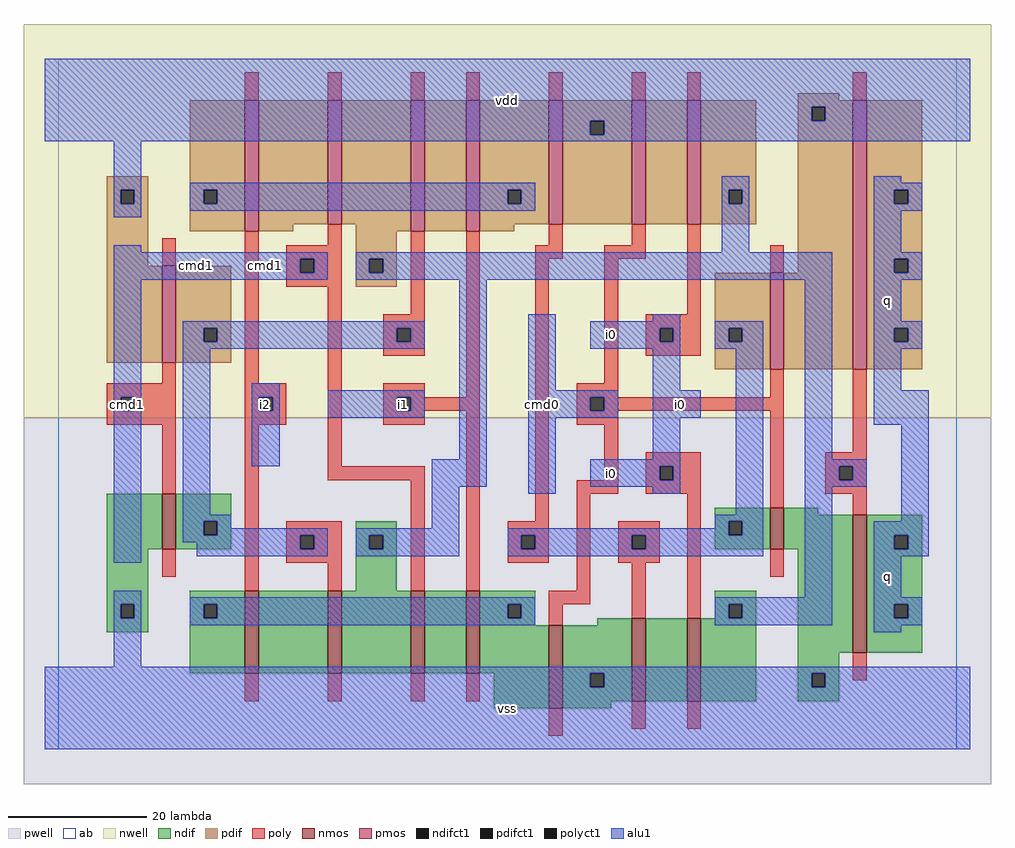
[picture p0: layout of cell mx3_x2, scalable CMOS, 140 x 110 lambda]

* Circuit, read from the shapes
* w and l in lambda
.subckt mx3_x2 cmd0 cmd1 i0 i1 i2 q vdd vss
M1 n1 cmd1 vss VSUBS nfet w=8 l=2
M2 n2 i2 n3 VSUBS nfet w=12 l=2
M3 n4 n1 n2 VSUBS nfet w=12 l=2
M4 n5 cmd1 n4 VSUBS nfet w=12 l=2
M5 n3 i1 n5 VSUBS nfet w=12 l=2
M6 vss cmd0 n3 VSUBS nfet w=12 l=2
M7 n6 n7 vss VSUBS nfet w=12 l=2
M8 n4 i0 n6 VSUBS nfet w=12 l=2
M9 vss cmd0 n7 VSUBS nfet w=6 l=2
M10 q n4 vss VSUBS nfet w=20 l=2
M11 n1 cmd1 vdd n8 pfet w=14 l=2
M12 n9 i2 n10 n8 pfet w=19 l=2
M13 n4 cmd1 n9 n8 pfet w=18 l=2
M14 n11 n1 n4 n8 pfet w=19 l=2
M15 n10 i1 n11 n8 pfet w=19 l=2
M16 vdd n7 n10 n8 pfet w=18 l=2
M17 n12 cmd0 vdd n8 pfet w=18 l=2
M18 n4 i0 n12 n8 pfet w=18 l=2
M19 vdd cmd0 n7 n8 pfet w=14 l=2
M20 q n4 vdd n8 pfet w=39 l=2
.ends

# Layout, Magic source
magic
tech scmos
<< ab >>
rect 0 0 130 100
<< nwell >>
rect -5 48 135 105
<< pwell >>
rect -5 -5 135 48
<< poly >>
rect 27 94 29 98
rect 39 94 41 98
rect 51 94 53 98
rect 59 94 61 98
rect 71 94 73 98
rect 83 94 85 98
rect 91 94 93 98
rect 115 94 117 98
rect 15 70 17 74
rect 15 53 17 56
rect 7 51 17 53
rect 7 49 9 51
rect 11 49 17 51
rect 7 47 17 49
rect 15 37 17 47
rect 27 53 29 75
rect 39 73 41 76
rect 33 71 41 73
rect 33 69 35 71
rect 37 69 41 71
rect 33 67 41 69
rect 27 51 33 53
rect 27 49 29 51
rect 31 49 33 51
rect 27 47 33 49
rect 15 25 17 29
rect 27 23 29 47
rect 39 41 41 67
rect 51 63 53 75
rect 47 61 53 63
rect 47 59 49 61
rect 51 59 53 61
rect 47 57 53 59
rect 47 51 53 53
rect 59 51 61 75
rect 71 73 73 76
rect 83 73 85 76
rect 47 49 49 51
rect 51 49 61 51
rect 47 47 53 49
rect 39 39 53 41
rect 33 31 41 33
rect 33 29 35 31
rect 37 29 41 31
rect 33 27 41 29
rect 39 23 41 27
rect 51 23 53 39
rect 59 23 61 49
rect 69 71 73 73
rect 79 71 85 73
rect 69 33 71 71
rect 79 53 81 71
rect 91 63 93 76
rect 103 69 105 73
rect 85 61 93 63
rect 85 59 87 61
rect 89 59 93 61
rect 85 57 93 59
rect 75 51 81 53
rect 103 51 105 55
rect 75 49 77 51
rect 79 49 105 51
rect 75 47 81 49
rect 79 39 81 47
rect 65 31 71 33
rect 65 29 67 31
rect 69 29 71 31
rect 65 27 71 29
rect 75 37 81 39
rect 85 41 93 43
rect 85 39 87 41
rect 89 39 93 41
rect 85 37 93 39
rect 75 23 77 37
rect 81 31 87 33
rect 81 29 83 31
rect 85 29 87 31
rect 81 27 87 29
rect 71 21 77 23
rect 71 18 73 21
rect 83 19 85 27
rect 91 19 93 37
rect 103 35 105 49
rect 115 43 117 55
rect 111 41 117 43
rect 111 39 113 41
rect 115 39 117 41
rect 111 37 117 39
rect 115 34 117 37
rect 103 25 105 29
rect 27 7 29 11
rect 39 7 41 11
rect 51 7 53 11
rect 59 7 61 11
rect 115 10 117 14
rect 71 2 73 6
rect 83 3 85 7
rect 91 3 93 7
<< ndif >>
rect 7 29 15 37
rect 17 33 25 37
rect 17 31 21 33
rect 23 31 25 33
rect 17 29 25 31
rect 7 21 13 29
rect 43 31 49 33
rect 43 29 45 31
rect 47 29 49 31
rect 43 23 49 29
rect 7 19 9 21
rect 11 19 13 21
rect 7 17 13 19
rect 19 21 27 23
rect 19 19 21 21
rect 23 19 27 21
rect 19 11 27 19
rect 29 11 39 23
rect 41 11 51 23
rect 53 11 59 23
rect 61 21 69 23
rect 61 19 65 21
rect 67 19 69 21
rect 61 18 69 19
rect 95 33 103 35
rect 95 31 97 33
rect 99 31 103 33
rect 95 29 103 31
rect 105 34 110 35
rect 105 29 115 34
rect 95 21 101 23
rect 95 19 97 21
rect 99 19 101 21
rect 78 18 83 19
rect 61 11 71 18
rect 63 6 71 11
rect 73 11 83 18
rect 73 9 77 11
rect 79 9 83 11
rect 73 7 83 9
rect 85 7 91 19
rect 93 7 101 19
rect 107 14 115 29
rect 117 31 125 34
rect 117 29 121 31
rect 123 29 125 31
rect 117 21 125 29
rect 117 19 121 21
rect 123 19 125 21
rect 117 14 125 19
rect 107 11 113 14
rect 107 9 109 11
rect 111 9 113 11
rect 107 7 113 9
rect 73 6 80 7
<< pdif >>
rect 107 94 113 95
rect 7 81 13 83
rect 7 79 9 81
rect 11 79 13 81
rect 7 70 13 79
rect 19 81 27 94
rect 19 79 21 81
rect 23 79 27 81
rect 19 75 27 79
rect 29 76 39 94
rect 41 76 51 94
rect 29 75 34 76
rect 7 56 15 70
rect 17 61 25 70
rect 17 59 21 61
rect 23 59 25 61
rect 17 56 25 59
rect 43 75 51 76
rect 53 75 59 94
rect 61 81 71 94
rect 61 79 65 81
rect 67 79 71 81
rect 61 76 71 79
rect 73 91 83 94
rect 73 89 77 91
rect 79 89 83 91
rect 73 76 83 89
rect 85 76 91 94
rect 93 81 101 94
rect 93 79 97 81
rect 99 79 101 81
rect 93 76 101 79
rect 107 93 115 94
rect 107 91 109 93
rect 111 91 115 93
rect 61 75 66 76
rect 43 71 49 75
rect 43 69 45 71
rect 47 69 49 71
rect 43 67 49 69
rect 107 69 115 91
rect 95 61 103 69
rect 95 59 97 61
rect 99 59 103 61
rect 95 55 103 59
rect 105 55 115 69
rect 117 81 125 94
rect 117 79 121 81
rect 123 79 125 81
rect 117 71 125 79
rect 117 69 121 71
rect 123 69 125 71
rect 117 61 125 69
rect 117 59 121 61
rect 123 59 125 61
rect 117 55 125 59
<< alu1 >>
rect -2 93 132 100
rect -2 91 109 93
rect 111 91 132 93
rect -2 89 77 91
rect 79 89 132 91
rect -2 88 132 89
rect 8 81 12 88
rect 8 79 9 81
rect 11 79 12 81
rect 8 77 12 79
rect 19 81 69 82
rect 19 79 21 81
rect 23 79 65 81
rect 67 79 69 81
rect 19 78 69 79
rect 96 81 100 83
rect 96 79 97 81
rect 99 79 100 81
rect 8 72 12 73
rect 96 72 100 79
rect 118 82 122 83
rect 118 81 125 82
rect 118 79 121 81
rect 123 79 125 81
rect 118 78 125 79
rect 118 72 122 78
rect 8 71 39 72
rect 8 69 35 71
rect 37 69 39 71
rect 8 68 39 69
rect 43 71 112 72
rect 43 69 45 71
rect 47 69 112 71
rect 43 68 112 69
rect 8 51 12 68
rect 8 49 9 51
rect 11 49 12 51
rect 8 27 12 49
rect 18 61 53 62
rect 18 59 21 61
rect 23 59 49 61
rect 51 59 53 61
rect 18 58 53 59
rect 18 34 22 58
rect 28 51 32 53
rect 28 49 29 51
rect 31 49 32 51
rect 28 41 32 49
rect 39 51 53 52
rect 39 49 49 51
rect 51 49 53 51
rect 39 48 53 49
rect 58 42 62 68
rect 54 38 62 42
rect 68 52 72 63
rect 86 62 90 63
rect 77 61 90 62
rect 77 59 87 61
rect 89 59 90 61
rect 77 58 90 59
rect 95 61 102 62
rect 95 59 97 61
rect 99 59 102 61
rect 95 58 102 59
rect 86 52 90 58
rect 68 51 81 52
rect 68 49 77 51
rect 79 49 81 51
rect 68 48 81 49
rect 86 48 93 52
rect 18 33 25 34
rect 18 31 21 33
rect 23 32 25 33
rect 54 32 58 38
rect 68 37 72 48
rect 86 42 90 48
rect 77 41 90 42
rect 77 39 87 41
rect 89 39 90 41
rect 77 38 90 39
rect 86 37 90 38
rect 98 34 102 58
rect 95 33 102 34
rect 95 32 97 33
rect 23 31 39 32
rect 18 30 35 31
rect 20 29 35 30
rect 37 29 39 31
rect 20 28 39 29
rect 43 31 58 32
rect 43 29 45 31
rect 47 29 58 31
rect 43 28 58 29
rect 65 31 97 32
rect 99 31 102 33
rect 65 29 67 31
rect 69 29 83 31
rect 85 29 102 31
rect 65 28 102 29
rect 108 42 112 68
rect 118 71 125 72
rect 118 69 121 71
rect 123 69 125 71
rect 118 68 125 69
rect 118 62 122 68
rect 118 61 125 62
rect 118 59 121 61
rect 123 59 125 61
rect 118 58 125 59
rect 118 52 122 58
rect 118 47 126 52
rect 108 41 117 42
rect 108 39 113 41
rect 115 39 117 41
rect 108 38 117 39
rect 8 21 12 23
rect 108 22 112 38
rect 122 33 126 47
rect 8 19 9 21
rect 11 19 12 21
rect 8 12 12 19
rect 19 21 69 22
rect 19 19 21 21
rect 23 19 65 21
rect 67 19 69 21
rect 19 18 69 19
rect 95 21 112 22
rect 95 19 97 21
rect 99 19 112 21
rect 95 18 112 19
rect 118 31 126 33
rect 118 29 121 31
rect 123 29 126 31
rect 118 28 126 29
rect 118 22 122 28
rect 118 21 125 22
rect 118 19 121 21
rect 123 19 125 21
rect 118 18 125 19
rect 118 17 122 18
rect -2 11 132 12
rect -2 9 77 11
rect 79 9 109 11
rect 111 9 132 11
rect -2 0 132 9
<< nmos >>
rect 15 29 17 37
rect 27 11 29 23
rect 39 11 41 23
rect 51 11 53 23
rect 59 11 61 23
rect 103 29 105 35
rect 71 6 73 18
rect 83 7 85 19
rect 91 7 93 19
rect 115 14 117 34
<< pmos >>
rect 27 75 29 94
rect 39 76 41 94
rect 15 56 17 70
rect 51 75 53 94
rect 59 75 61 94
rect 71 76 73 94
rect 83 76 85 94
rect 91 76 93 94
rect 103 55 105 69
rect 115 55 117 94
<< polyct1 >>
rect 9 49 11 51
rect 35 69 37 71
rect 29 49 31 51
rect 49 59 51 61
rect 49 49 51 51
rect 35 29 37 31
rect 87 59 89 61
rect 77 49 79 51
rect 67 29 69 31
rect 87 39 89 41
rect 83 29 85 31
rect 113 39 115 41
<< ndifct1 >>
rect 21 31 23 33
rect 45 29 47 31
rect 9 19 11 21
rect 21 19 23 21
rect 65 19 67 21
rect 97 31 99 33
rect 97 19 99 21
rect 77 9 79 11
rect 121 29 123 31
rect 121 19 123 21
rect 109 9 111 11
<< pdifct1 >>
rect 9 79 11 81
rect 21 79 23 81
rect 21 59 23 61
rect 65 79 67 81
rect 77 89 79 91
rect 97 79 99 81
rect 109 91 111 93
rect 45 69 47 71
rect 97 59 99 61
rect 121 79 123 81
rect 121 69 123 71
rect 121 59 123 61
<< labels >>
rlabel polyct1 10 50 10 50 6 cmd1
rlabel alu1 20 70 20 70 6 cmd1
rlabel polyct1 30 50 30 50 6 i2
rlabel alu1 30 70 30 70 6 cmd1
rlabel alu1 65 6 65 6 6 vss
rlabel polyct1 50 50 50 50 6 i1
rlabel alu1 70 50 70 50 6 cmd0
rlabel alu1 65 94 65 94 6 vdd
rlabel alu1 80 40 80 40 6 i0
rlabel alu1 90 50 90 50 6 i0
rlabel alu1 80 60 80 60 6 i0
rlabel alu1 120 25 120 25 6 q
rlabel alu1 120 65 120 65 6 q
<< end >>
